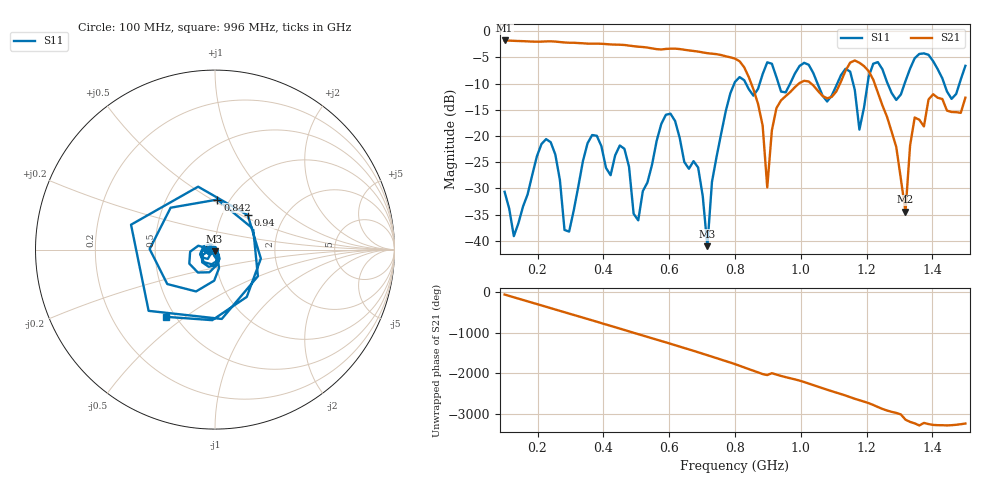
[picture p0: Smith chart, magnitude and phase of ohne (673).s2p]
! NanoVNA-App
! Date: 2025-09-25 14:26:02
! Start: 100MHz Stop: 1,5GHz Points: 101
! S-Parameter data: F S11 S21 S12 S22
# Hz S RI R 50
!  Frequency  S11_Real  S11_Imag  S21_Real  S21_Imag  S12_Real  S12_Imag  S22_Real  S22_Imag
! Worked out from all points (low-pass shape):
!   101 points, 100 MHz to 1.5 GHz, reference 50 ohm
!   highest |S21| = -1.79 dB at 100 MHz (marker M1); lowest = -34.4 dB at 1.318 GHz (marker M2)
!   |S21| within 3 dB of the highest: start of sweep to 771.1 MHz
!   lowest |S11| = -41.0 dB at 716 MHz (marker M3), VSWR 1.02, Z = 49.8 - j0.861 ohm
!   |S11| at or under -10 dB: start of sweep to 798 MHz; 833.1 MHz to 875.1 MHz (41.94 MHz wide, 4.91 % of centre); 1.051 GHz to 1.111 GHz (60.08 MHz wide, 5.56 % of centre) (the widest 3 of 7)
!   S12 and S22 are empty: the file has one direction only
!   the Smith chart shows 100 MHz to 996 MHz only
!   S11 on the Smith chart (normalised r, x): 100 MHz: 0.94, -0.01; 842 MHz: 0.88, +0.53; 940 MHz: 1.32, +0.54; 996 MHz: 0.44, -0.42
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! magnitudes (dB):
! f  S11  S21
! 100 MHz  -30.6  -1.8
! 128 MHz  -39.1  -1.9
! 226 MHz  -20.6  -2.0
! 296 MHz  -38.2  -2.2
! 338 MHz  -24.8  -2.3
! 464 MHz  -22.4  -2.7
! 506 MHz  -36.1  -3.0
! 576 MHz  -17.7  -3.5
! 688 MHz  -26.0  -3.9
! 716 MHz  -41.0  -4.2
! 800 MHz  -9.7  -5.3
! 842 MHz  -11.1  -8.8
! 898 MHz  -6.0  -29.8
! 940 MHz  -11.5  -13.2
! 996 MHz  -6.7  -9.9
! 1.038 GHz  -8.0  -10.4
! 1.178 GHz  -18.8  -6.0
! 1.22 GHz  -6.2  -9.3
! 1.276 GHz  -11.8  -19.2
! 1.318 GHz  -9.5  -34.4
! 1.346 GHz  -5.2  -16.5
! 1.5 GHz  -6.6  -12.7
